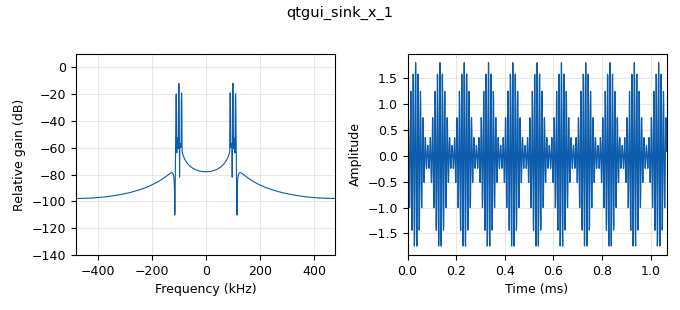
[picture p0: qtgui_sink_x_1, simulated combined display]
<?xml version='1.0' encoding='utf-8'?>
<?grc format='1' created='3.7.13'?>
<flow_graph>
<block>
<key>options</key>
<param><key>id</key><value>top_block</value></param>
<param><key>category</key><value>Custom</value></param>
<param><key>generate_options</key><value>qt_gui</value></param>
</block>
<block>
<key>variable</key>
<param><key>id</key><value>samp_rate</value></param>
<param><key>value</key><value>960000</value></param>
</block>
<block>
<key>analog_const_source_x</key>
<param><key>id</key><value>analog_const_source_x_1</value></param>
<param><key>const</key><value>1</value></param>
<param><key>type</key><value>float</value></param>
</block>
<block>
<key>analog_sig_source_x</key>
<param><key>id</key><value>analog_sig_source_x_0</value></param>
<param><key>amp</key><value>1</value></param>
<param><key>freq</key><value>10000</value></param>
<param><key>offset</key><value>0</value></param>
<param><key>type</key><value>float</value></param>
<param><key>samp_rate</key><value>samp_rate</value></param>
<param><key>waveform</key><value>analog.GR_COS_WAVE</value></param>
</block>
<block>
<key>analog_sig_source_x</key>
<param><key>id</key><value>analog_sig_source_x_1</value></param>
<param><key>amp</key><value>1</value></param>
<param><key>freq</key><value>100000</value></param>
<param><key>offset</key><value>0</value></param>
<param><key>type</key><value>float</value></param>
<param><key>samp_rate</key><value>samp_rate</value></param>
<param><key>waveform</key><value>analog.GR_COS_WAVE</value></param>
</block>
<block>
<key>blocks_add_xx</key>
<param><key>id</key><value>blocks_add_xx_0</value></param>
<param><key>type</key><value>float</value></param>
</block>
<block>
<key>blocks_multiply_xx</key>
<param><key>id</key><value>blocks_multiply_xx_0</value></param>
<param><key>type</key><value>float</value></param>
</block>
<block>
<key>blocks_multiply_xx</key>
<param><key>id</key><value>blocks_multiply_xx_1</value></param>
<param><key>type</key><value>float</value></param>
</block>
<block>
<key>blocks_throttle</key>
<param><key>id</key><value>blocks_throttle_0</value></param>
<param><key>samples_per_second</key><value>samp_rate</value></param>
<param><key>type</key><value>float</value></param>
</block>
<block>
<key>analog_const_source_x</key>
<param><key>id</key><value>m</value></param>
<param><key>const</key><value>0.8</value></param>
<param><key>type</key><value>float</value></param>
</block>
<block>
<key>qtgui_sink_x</key>
<param><key>id</key><value>qtgui_sink_x_1</value></param>
<param><key>bw</key><value>samp_rate</value></param>
<param><key>fc</key><value>0</value></param>
<param><key>freqchangevar</key><value>None</value></param>
<param><key>fftsize</key><value>1024</value></param>
<param><key>plotwaterfall</key><value>False</value></param>
<param><key>showports</key><value>True</value></param>
<param><key>type</key><value>float</value></param>
<param><key>wintype</key><value>firdes.WIN_HAMMING</value></param>
</block>
<connection><source_block_id>analog_const_source_x_1</source_block_id><sink_block_id>blocks_add_xx_0</sink_block_id><source_key>0</source_key><sink_key>0</sink_key></connection>
<connection><source_block_id>analog_sig_source_x_0</source_block_id><sink_block_id>blocks_multiply_xx_0</sink_block_id><source_key>0</source_key><sink_key>1</sink_key></connection>
<connection><source_block_id>analog_sig_source_x_1</source_block_id><sink_block_id>blocks_multiply_xx_1</sink_block_id><source_key>0</source_key><sink_key>1</sink_key></connection>
<connection><source_block_id>blocks_add_xx_0</source_block_id><sink_block_id>blocks_multiply_xx_1</sink_block_id><source_key>0</source_key><sink_key>0</sink_key></connection>
<connection><source_block_id>blocks_multiply_xx_0</source_block_id><sink_block_id>blocks_add_xx_0</sink_block_id><source_key>0</source_key><sink_key>1</sink_key></connection>
<connection><source_block_id>blocks_multiply_xx_1</source_block_id><sink_block_id>blocks_throttle_0</sink_block_id><source_key>0</source_key><sink_key>0</sink_key></connection>
<connection><source_block_id>blocks_throttle_0</source_block_id><sink_block_id>qtgui_sink_x_1</sink_block_id><source_key>0</source_key><sink_key>0</sink_key></connection>
<connection><source_block_id>m</source_block_id><sink_block_id>blocks_multiply_xx_0</sink_block_id><source_key>0</source_key><sink_key>0</sink_key></connection>
</flow_graph>
